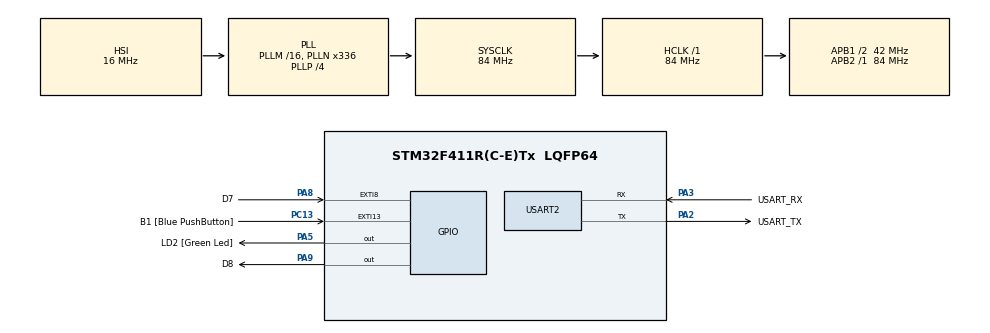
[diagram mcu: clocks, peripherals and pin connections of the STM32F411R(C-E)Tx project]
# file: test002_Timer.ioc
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Mcu.Family=STM32F4
Mcu.Name=STM32F411R(C-E)Tx
Mcu.Package=LQFP64
NVIC.EXTI15_10_IRQn=true\:0\:0\:false\:false\:true\:true\:true\:true
NVIC.EXTI9_5_IRQn=true\:0\:0\:false\:false\:true\:true\:true\:true
NVIC.PriorityGroup=NVIC_PRIORITYGROUP_0
NVIC.TIM2_IRQn=true\:0\:0\:false\:false\:true\:true\:true\:true
NVIC.TIM3_IRQn=true\:0\:0\:false\:false\:true\:true\:true\:true
PA13.GPIO_Label=TMS
PA13.Mode=Serial_Wire
PA13.Signal=SYS_JTMS-SWDIO
PA14.GPIO_Label=TCK
PA14.Mode=Serial_Wire
PA14.Signal=SYS_JTCK-SWCLK
PA2.GPIO_Label=USART_TX
PA2.Mode=Asynchronous
PA2.Signal=USART2_TX
PA3.GPIO_Label=USART_RX
PA3.Mode=Asynchronous
PA3.Signal=USART2_RX
PA5.GPIO_Label=LD2 [Green Led]
PA5.Signal=GPIO_Output
PA8.GPIO_Label=D7
PA8.Signal=GPXTI8
PA9.GPIO_Label=D8
PA9.Signal=GPIO_Output
PB3.GPIO_Label=SWO
PB3.Signal=SYS_JTDO-SWO
PC13-ANTI_TAMP.GPIO_Label=B1 [Blue PushButton]
PC13-ANTI_TAMP.GPIO_ModeDefaultEXTI=GPIO_MODE_IT_FALLING
PC13-ANTI_TAMP.Signal=GPXTI13
PC14-OSC32_IN.Mode=LSE-External-Oscillator
PC14-OSC32_IN.Signal=RCC_OSC32_IN
PC15-OSC32_OUT.Mode=LSE-External-Oscillator
PC15-OSC32_OUT.Signal=RCC_OSC32_OUT
PH0\ -\ OSC_IN.Mode=HSE-External-Clock-Source
PH0\ -\ OSC_IN.Signal=RCC_OSC_IN
PH1\ -\ OSC_OUT.Mode=HSE-External-Clock-Source
PH1\ -\ OSC_OUT.Signal=RCC_OSC_OUT
ProjectManager.HeapSize=0x200
ProjectManager.StackSize=0x400
ProjectManager.TargetToolchain=STM32CubeIDE
RCC.48MHZClocksFreq_Value=84000000
RCC.AHBFreq_Value=84000000
RCC.APB1CLKDivider=RCC_HCLK_DIV2
RCC.APB1Freq_Value=42000000
RCC.APB1TimFreq_Value=84000000
RCC.APB2Freq_Value=84000000
RCC.APB2TimFreq_Value=84000000
RCC.CortexFreq_Value=84000000
RCC.FLatency-AdvancedSettings=FLASH_LATENCY_2
RCC.HCLKFreq_Value=84000000
RCC.HSE_VALUE=8000000
RCC.HSI_VALUE=16000000
RCC.PLLN=336
RCC.PLLP=RCC_PLLP_DIV4
RCC.SYSCLKFreq_VALUE=84000000
RCC.SYSCLKSource=RCC_SYSCLKSOURCE_PLLCLK
RCC.VCOOutputFreq_Value=336000000
TIM2.Period=10000-1
TIM2.Prescaler=8400-1
TIM3.Period=5000-1
TIM3.Prescaler=8400-1
USART2.VirtualMode=VM_ASYNC
VP_TIM2_VS_ClockSourceINT.Mode=Internal
VP_TIM3_VS_ClockSourceINT.Mode=Internal
board=NUCLEO-F411RE

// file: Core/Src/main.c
/* USER CODE BEGIN Header */
/**
  ******************************************************************************
  * @file           : main.c
  * @brief          : Main program body
  ******************************************************************************
  * @attention
  *
  * Copyright (c) 2024 STMicroelectronics.
  * All rights reserved.
  *
  * This software is licensed under terms that can be found in the LICENSE file
  * in the root directory of this software component.
  * If no LICENSE file comes with this software, it is provided AS-IS.
  *
  ******************************************************************************
  */
/* USER CODE END Header */
#include "main.h"

TIM_HandleTypeDef htim2;
TIM_HandleTypeDef htim3;

UART_HandleTypeDef huart2;

void SystemClock_Config(void);
static void MX_GPIO_Init(void);
static void MX_USART2_UART_Init(void);
static void MX_TIM3_Init(void);
static void MX_TIM2_Init(void);

/* USER CODE BEGIN 0 */
int i = 2;
void HAL_TIM_PeriodElapsedCallback(TIM_HandleTypeDef *htim)
{
	if(htim == &htim2)
		HAL_GPIO_TogglePin(LD2_GPIO_Port, LD2_Pin);
	if(htim == &htim3)
		HAL_GPIO_TogglePin(D8_GPIO_Port, D8_Pin);
}
void HAL_GPIO_EXTI_Callback(uint16_t GPIO_Pin)
{
	if(GPIO_Pin == D7_Pin)
	{
		htim3.Instance -> ARR = htim3.Instance -> ARR - i * 450;
		i++;
	}
	else if(GPIO_Pin == B1_Pin)
	{
		htim2.Instance -> ARR = i * 450;
		i++;
	}
}

/* USER CODE END 0 */

int main(void)
{

  /* MCU Configuration--------------------------------------------------------*/

  /* Reset of all peripherals, Initializes the Flash interface and the Systick. */
  HAL_Init();

  /* Configure the system clock */
  SystemClock_Config();

  /* Initialize all configured peripherals */
  MX_GPIO_Init();
  MX_USART2_UART_Init();
  MX_TIM3_Init();
  MX_TIM2_Init();
  /* USER CODE BEGIN 2 */
  HAL_TIM_Base_Start_IT(&htim2);			//
  HAL_TIM_Base_Start_IT(&htim3);
  /* USER CODE END 2 */

  /* Infinite loop */
  while (1)
  {

    /* USER CODE BEGIN 3 */
//	  for(int i = 1; i < 20; i++)
//	  {
//		  htim3.Instance -> ARR = i * 450;
//		  HAL_Delay(i * 449);
//	  }
  }
  /* USER CODE END 3 */
}

void SystemClock_Config(void)
{
  RCC_OscInitTypeDef RCC_OscInitStruct = {0};
  RCC_ClkInitTypeDef RCC_ClkInitStruct = {0};

  /** Configure the main internal regulator output voltage
  */
  __HAL_RCC_PWR_CLK_ENABLE();
  __HAL_PWR_VOLTAGESCALING_CONFIG(PWR_REGULATOR_VOLTAGE_SCALE1);

  /** Initializes the RCC Oscillators according to the specified parameters
  * in the RCC_OscInitTypeDef structure.
  */
  RCC_OscInitStruct.OscillatorType = RCC_OSCILLATORTYPE_HSI;
  RCC_OscInitStruct.HSIState = RCC_HSI_ON;
  RCC_OscInitStruct.HSICalibrationValue = RCC_HSICALIBRATION_DEFAULT;
  RCC_OscInitStruct.PLL.PLLState = RCC_PLL_ON;
  RCC_OscInitStruct.PLL.PLLSource = RCC_PLLSOURCE_HSI;
  RCC_OscInitStruct.PLL.PLLM = 16;
  RCC_OscInitStruct.PLL.PLLN = 336;
  RCC_OscInitStruct.PLL.PLLP = RCC_PLLP_DIV4;
  RCC_OscInitStruct.PLL.PLLQ = 4;
  if (HAL_RCC_OscConfig(&RCC_OscInitStruct) != HAL_OK)
  {
    Error_Handler();
  }

  /** Initializes the CPU, AHB and APB buses clocks
  */
  RCC_ClkInitStruct.ClockType = RCC_CLOCKTYPE_HCLK|RCC_CLOCKTYPE_SYSCLK
                              |RCC_CLOCKTYPE_PCLK1|RCC_CLOCKTYPE_PCLK2;
  RCC_ClkInitStruct.SYSCLKSource = RCC_SYSCLKSOURCE_PLLCLK;
  RCC_ClkInitStruct.AHBCLKDivider = RCC_SYSCLK_DIV1;
  RCC_ClkInitStruct.APB1CLKDivider = RCC_HCLK_DIV2;
  RCC_ClkInitStruct.APB2CLKDivider = RCC_HCLK_DIV1;

  if (HAL_RCC_ClockConfig(&RCC_ClkInitStruct, FLASH_LATENCY_2) != HAL_OK)
  {
    Error_Handler();
  }
}

static void MX_TIM2_Init(void)
{

  TIM_ClockConfigTypeDef sClockSourceConfig = {0};
  TIM_MasterConfigTypeDef sMasterConfig = {0};

  htim2.Instance = TIM2;
  htim2.Init.Prescaler = 8400-1;
  htim2.Init.CounterMode = TIM_COUNTERMODE_UP;
  htim2.Init.Period = 10000-1;
  htim2.Init.ClockDivision = TIM_CLOCKDIVISION_DIV1;
  htim2.Init.AutoReloadPreload = TIM_AUTORELOAD_PRELOAD_DISABLE;
  if (HAL_TIM_Base_Init(&htim2) != HAL_OK)
  {
    Error_Handler();
  }
  sClockSourceConfig.ClockSource = TIM_CLOCKSOURCE_INTERNAL;
  if (HAL_TIM_ConfigClockSource(&htim2, &sClockSourceConfig) != HAL_OK)
  {
    Error_Handler();
  }
  sMasterConfig.MasterOutputTrigger = TIM_TRGO_RESET;
  sMasterConfig.MasterSlaveMode = TIM_MASTERSLAVEMODE_DISABLE;
  if (HAL_TIMEx_MasterConfigSynchronization(&htim2, &sMasterConfig) != HAL_OK)
  {
    Error_Handler();
  }

}

static void MX_TIM3_Init(void)
{

  TIM_ClockConfigTypeDef sClockSourceConfig = {0};
  TIM_MasterConfigTypeDef sMasterConfig = {0};

  htim3.Instance = TIM3;
  htim3.Init.Prescaler = 8400-1;
  htim3.Init.CounterMode = TIM_COUNTERMODE_UP;
  htim3.Init.Period = 5000-1;
  htim3.Init.ClockDivision = TIM_CLOCKDIVISION_DIV1;
  htim3.Init.AutoReloadPreload = TIM_AUTORELOAD_PRELOAD_DISABLE;
  if (HAL_TIM_Base_Init(&htim3) != HAL_OK)
  {
    Error_Handler();
  }
  sClockSourceConfig.ClockSource = TIM_CLOCKSOURCE_INTERNAL;
  if (HAL_TIM_ConfigClockSource(&htim3, &sClockSourceConfig) != HAL_OK)
  {
    Error_Handler();
  }
  sMasterConfig.MasterOutputTrigger = TIM_TRGO_RESET;
  sMasterConfig.MasterSlaveMode = TIM_MASTERSLAVEMODE_DISABLE;
  if (HAL_TIMEx_MasterConfigSynchronization(&htim3, &sMasterConfig) != HAL_OK)
  {
    Error_Handler();
  }

}

static void MX_USART2_UART_Init(void)
{

  huart2.Instance = USART2;
  huart2.Init.BaudRate = 115200;
  huart2.Init.WordLength = UART_WORDLENGTH_8B;
  huart2.Init.StopBits = UART_STOPBITS_1;
  huart2.Init.Parity = UART_PARITY_NONE;
  huart2.Init.Mode = UART_MODE_TX_RX;
  huart2.Init.HwFlowCtl = UART_HWCONTROL_NONE;
  huart2.Init.OverSampling = UART_OVERSAMPLING_16;
  if (HAL_UART_Init(&huart2) != HAL_OK)
  {
    Error_Handler();
  }

}

static void MX_GPIO_Init(void)
{
  GPIO_InitTypeDef GPIO_InitStruct = {0};

  /* GPIO Ports Clock Enable */
  __HAL_RCC_GPIOC_CLK_ENABLE();
  __HAL_RCC_GPIOH_CLK_ENABLE();
  __HAL_RCC_GPIOA_CLK_ENABLE();
  __HAL_RCC_GPIOB_CLK_ENABLE();

  /*Configure GPIO pin Output Level */
  HAL_GPIO_WritePin(GPIOA, LD2_Pin|D8_Pin, GPIO_PIN_RESET);

  /*Configure GPIO pin : B1_Pin */
  GPIO_InitStruct.Pin = B1_Pin;
  GPIO_InitStruct.Mode = GPIO_MODE_IT_FALLING;
  GPIO_InitStruct.Pull = GPIO_NOPULL;
  HAL_GPIO_Init(B1_GPIO_Port, &GPIO_InitStruct);

  /*Configure GPIO pins : LD2_Pin D8_Pin */
  GPIO_InitStruct.Pin = LD2_Pin|D8_Pin;
  GPIO_InitStruct.Mode = GPIO_MODE_OUTPUT_PP;
  GPIO_InitStruct.Pull = GPIO_NOPULL;
  GPIO_InitStruct.Speed = GPIO_SPEED_FREQ_LOW;
  HAL_GPIO_Init(GPIOA, &GPIO_InitStruct);

  /*Configure GPIO pin : D7_Pin */
  GPIO_InitStruct.Pin = D7_Pin;
  GPIO_InitStruct.Mode = GPIO_MODE_IT_RISING;
  GPIO_InitStruct.Pull = GPIO_NOPULL;
  HAL_GPIO_Init(D7_GPIO_Port, &GPIO_InitStruct);

  /* EXTI interrupt init*/
  HAL_NVIC_SetPriority(EXTI9_5_IRQn, 0, 0);
  HAL_NVIC_EnableIRQ(EXTI9_5_IRQn);

  HAL_NVIC_SetPriority(EXTI15_10_IRQn, 0, 0);
  HAL_NVIC_EnableIRQ(EXTI15_10_IRQn);

}

void Error_Handler(void)
{
  __disable_irq();
  while (1)
  {
  }
}
